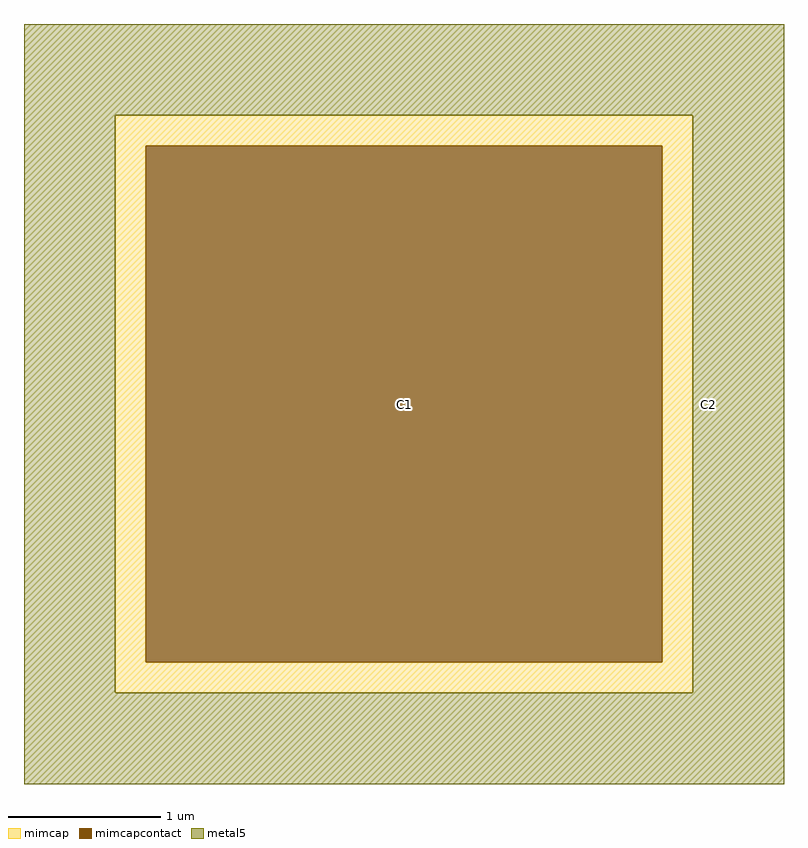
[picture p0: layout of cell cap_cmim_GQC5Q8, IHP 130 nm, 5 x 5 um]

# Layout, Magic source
magic
tech ihp-sg13g2
<< metal5 >>
rect -250 190 250 250
rect -250 -190 -190 190
rect 190 -190 250 190
rect -250 -250 250 -190
<< mimcap >>
rect -190 170 190 190
rect -190 -170 -170 170
rect 170 -170 190 170
rect -190 -190 190 -170
<< mimcapcontact >>
rect -170 -170 170 170
<< labels >>
rlabel mimcapcontact 0 0 0 0 0 C1
port 1 nsew
rlabel metal5 200 0 200 0 0 C2
port 2 nsew
<< properties >>
string FIXED_BBOX -250 -250 250 250
string gencell cap_cmim
string library sg13g2
string parameters w 3.8 l 3.8 val 24.548 carea 1.50 cperi 0.19 class capacitor compatible {cap_cmim cap_rfcmim} nx 1 ny 1 dummy 0 square 0 lmin 2.00 wmin 2.00 lmax 30.0 wmax 30.0 dc 0 tabwidth 1.0 upcontact 0 bconnect 1 tconnect 1 ccov 100 doports 1
<< end >>
